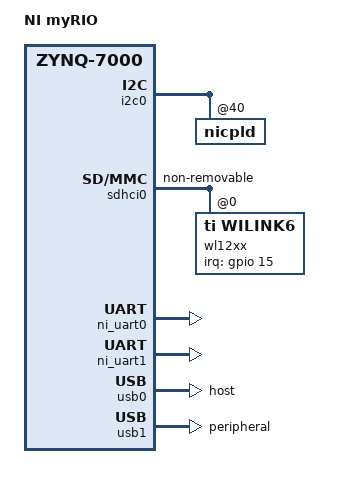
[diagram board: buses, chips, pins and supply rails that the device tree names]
/dts-v1/;
/include/ "ni-zynq.dtsi"

/* NIDEVCODE 762F */

/ {
	model = "NI myRIO";
	compatible = "ni,zynq", "xlnx,zynq-7000";

	amba@0 {
		i2c0: i2c@e0004000 {
			nicpld@40 {
				watchdogs {
					boot-watchdog {
						interrupt-parent = <&gpio>;
						interrupts = <24 2 /* IRQ_TYPE_EDGE_FALLING */>;
					};
				};

				switches {
					wifi-switch {
						interrupt-parent = <&gpio>;
						interrupts = <25 2 /* IRQ_TYPE_EDGE_FALLING */>;
					};
				};

				leds {
					status-1 {
						label = "nilrt:status:yellow";
						max-brightness = <0xFFFF>;
					};
					wifi-0 {
						label = "nilrt:wifi:primary";
					};
					wifi-1 {
						label = "nilrt:wifi:secondary";
					};
				};
			};
		};
	};
};

&sdhci0 {
	status = "okay";

	/* We must force the SDHCI into test mode, so that it
	 * always pretends to have a card present. This is to
	 * work-around a hardware bug where TiWi WiFi does not
	 * have its CD line connected correctly. */
	force-sd-cd-test-mode = <1>;

	non-removable = <1>;

	wl12xx: wl12xx@0 {
		compatible = "ti,wilink6";
		interrupt-parent = <&gpio>;
		interrupts = <15 0x4>;
		clocks = <&refclock>;
		clock-names = "refclock";

		refclock: refclock {
			compatible = "ti,wilink-clock";
			#clock-cells = <0>;
			clock-frequency = <38400000>;
		};
	};
};

&ni_uart0 {
	status = "okay";
	transceiver = "RS-232";
};

&ni_uart1 {
	status = "okay";
	transceiver = "RS-232";
};

&usb0 {
	status = "okay";
	dr_mode = "host";
};

&usb1 {
	status = "okay";
	dr_mode = "peripheral";
};

&clkc {
	/* Enable fclk1 for serial. */
	fclk-enable = <0x2>;
};
